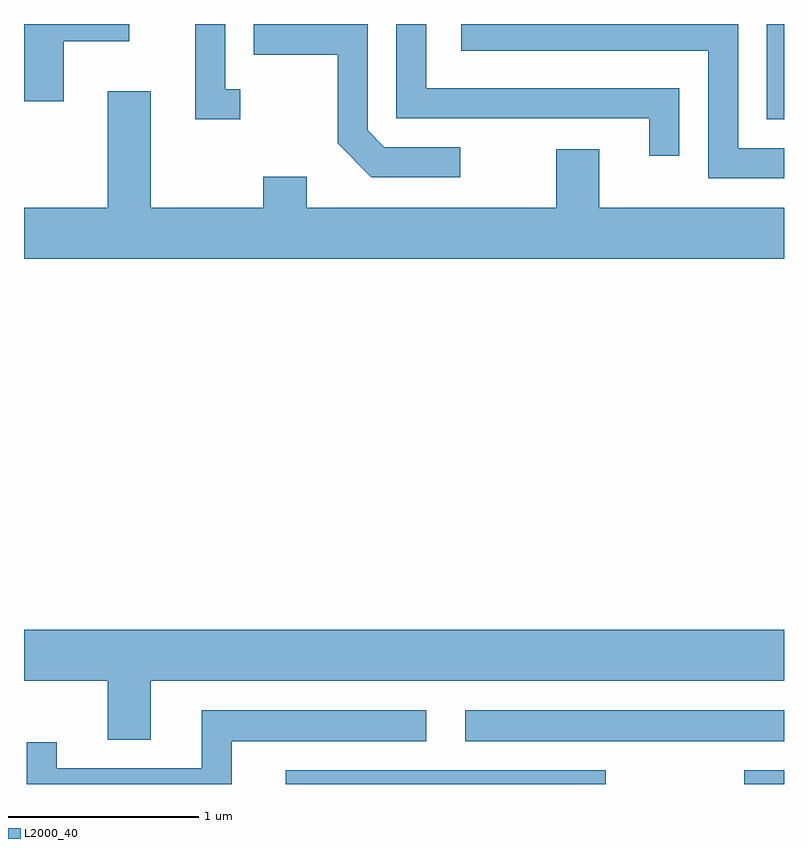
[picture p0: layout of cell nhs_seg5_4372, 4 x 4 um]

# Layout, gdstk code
import gdstk
lib = gdstk.Library(unit=1e-6, precision=1e-09)
def R(c, l, rs):  # rectangles x0, y0, x1, y1
    for r in rs: c.add(gdstk.rectangle(r[:2], r[2:], *l))
def P(c, l, *ps):  # polygons
    for p in ps: c.add(gdstk.Polygon(p, *l))
L2000_40 = (2000, 40)

nhs_seg5_4372 = lib.new_cell('nhs_seg5_4372')
R(nhs_seg5_4372, L2000_40, [(316.988,1414.072,318.673,1414.144), (319.403,1414.072,319.611,1414.144), (317.933,1414.296,319.611,1414.459), (319.521,1417.571,319.611,1418.072)])
P(nhs_seg5_4372, L2000_40, [(319.611,1417.419),(319.369,1417.419),(319.369,1418.072),(317.911,1418.072),(317.911,1417.931),(319.211,1417.931),(319.211,1417.261),(319.611,1417.261)],
  [(316.748,1417.729),(316.669,1417.729),(316.669,1418.072),(316.511,1418.072),(316.511,1417.571),(316.748,1417.571)],
  [(319.059,1417.734),(317.729,1417.734),(317.729,1418.072),(317.571,1418.072),(317.571,1417.576),(318.901,1417.576),(318.901,1417.378),(319.059,1417.378)],
  [(317.908,1417.424),(317.507,1417.424),(317.419,1417.512),(317.419,1418.072),(316.821,1418.072),(316.821,1417.911),(317.261,1417.911),(317.261,1417.444),(317.439,1417.266),(317.908,1417.266)],
  [(315.819,1417.981),(316.164,1417.981),(316.164,1418.072),(315.611,1418.072),(315.611,1417.666),(315.819,1417.666)],
  [(319.611,1417.104),(318.639,1417.104),(318.639,1417.414),(318.411,1417.414),(318.411,1417.104),(317.099,1417.104),(317.099,1417.269),(316.871,1417.269),(316.871,1417.104),(316.279,1417.104),(316.279,1417.719),(316.051,1417.719),(316.051,1417.104),(315.611,1417.104),(315.611,1416.836),(319.611,1416.836)],
  [(316.279,1414.616),(319.611,1414.616),(319.611,1414.884),(315.611,1414.884),(315.611,1414.616),(316.051,1414.616),(316.051,1414.306),(316.279,1414.306)],
  [(316.704,1414.296),(317.728,1414.296),(317.728,1414.459),(316.546,1414.459),(316.546,1414.154),(315.784,1414.154),(315.784,1414.293),(315.626,1414.293),(315.626,1414.072),(316.704,1414.072)])

lib.write_gds('nhs_seg5_4372.gds')
